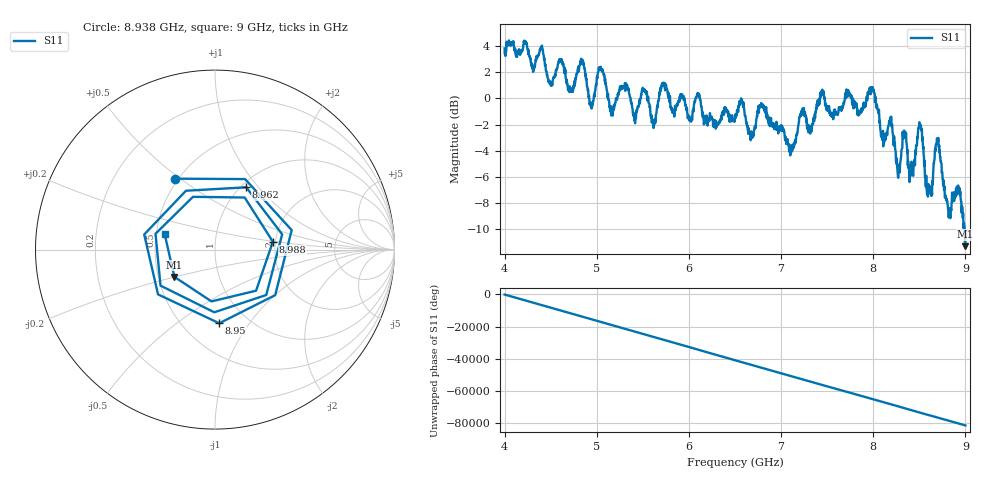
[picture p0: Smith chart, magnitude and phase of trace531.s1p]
! Created with skrf 1.8.0 (http://scikit-rf.org).
# Hz S RI R 50.0
!freq ReS11 ImS11
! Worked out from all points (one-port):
!   1601 points, 4 GHz to 9 GHz, reference 50 ohm
!   lowest |S11| = -11.3 dB at 8.997 GHz (marker M1), VSWR 1.75, Z = 30.3 - j9.96 ohm
!   |S11| at or under -10 dB: 8.991628 GHz to end of sweep
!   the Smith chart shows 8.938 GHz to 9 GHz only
!   S11 on the Smith chart (normalised r, x): 8.938 GHz: 0.48, +0.48; 8.95 GHz: 0.74, -0.73; 8.962 GHz: 1.06, +0.86; 8.988 GHz: 1.94, +0.19; 9 GHz: 0.55, +0.10
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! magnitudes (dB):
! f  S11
! 4 GHz  3.8
! 4.625 GHz  2.9
! 4.716 GHz  0.6
! 4.844 GHz  2.8
! 4.938 GHz  -0.7
! 5.038 GHz  2.3
! 5.162 GHz  -1.1
! 5.25 GHz  0.8
! 5.875 GHz  -0.5
! 6.5 GHz  -1.5
! 6.681 GHz  -2.9
! 6.791 GHz  -0.6
! 7.125 GHz  -3.9
! 7.438 GHz  0.6
! 7.75 GHz  0.3
! 7.988 GHz  0.8
! 8.269 GHz  -6.0
! 8.375 GHz  -5.1
! 8.509 GHz  -2.0
! 8.606 GHz  -7.1
! 8.697 GHz  -3.3
! 8.812 GHz  -8.5
! 8.938 GHz  -6.9
! 8.95 GHz  -7.7
! 8.962 GHz  -8.2
! 8.988 GHz  -9.8
! 8.997 GHz  -11.3
! 9 GHz  -10.7
